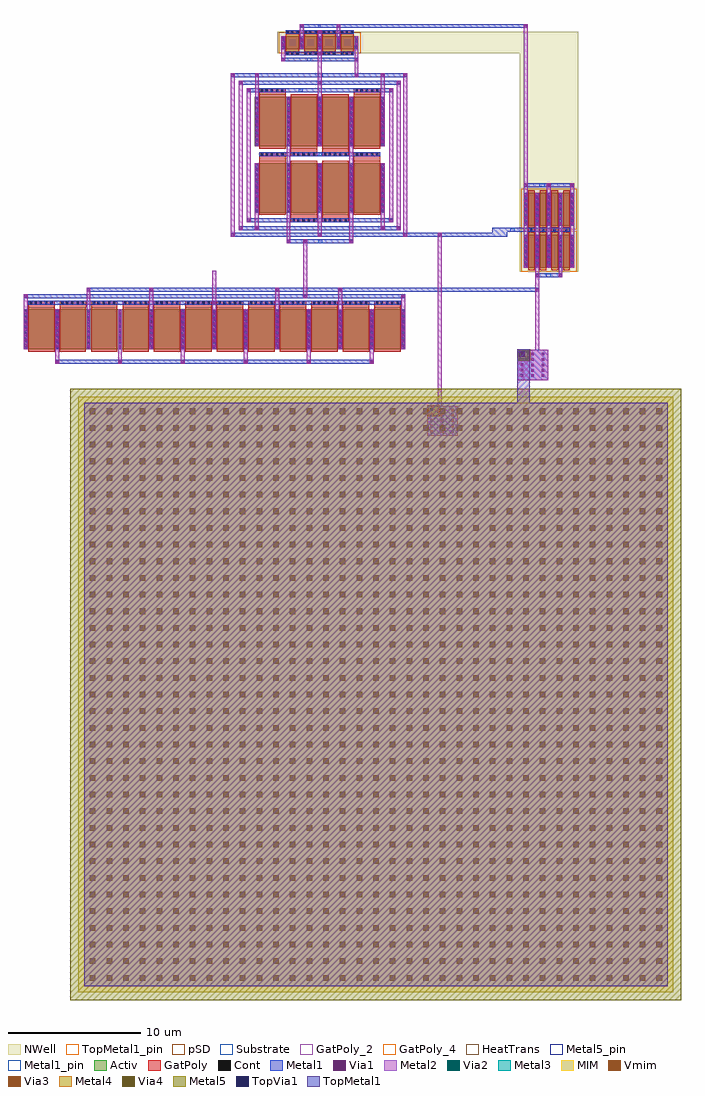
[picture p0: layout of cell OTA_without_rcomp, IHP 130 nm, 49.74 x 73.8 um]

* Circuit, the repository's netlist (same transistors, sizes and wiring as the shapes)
* Extracted by KLayout with SG13G2 LVS runset on : 30/04/2024 10:34

* cell OTA_without_rcomp
* pin VOUT
* pin VMID2
* pin VSS
* pin VS
* pin IREF
* pin VDD
* pin VMID1
* pin VIN_P
* pin VIN_N
* pin sub!
.SUBCKT OTA_without_rcomp VOUT VMID2 VSS VS IREF VDD VMID1 VIN_P VIN_N sub!
* device instance $1 r0 *1 -28.27,-7.193 sg13_lv_nmos
M$1 VS IREF VSS sub! sg13_lv_nmos W=6.0 L=2.0
* device instance $2 r0 *1 -25.89,-7.193 sg13_lv_nmos
M$2 VSS IREF VOUT sub! sg13_lv_nmos W=24.0 L=2.0
* device instance $6 r0 *1 -16.37,-7.193 sg13_lv_nmos
M$6 VSS IREF IREF sub! sg13_lv_nmos W=6.0 L=2.0
* device instance $13 r0 *1 -10.772,3.507 sg13_lv_nmos
M$13 VMID1 VIN_N VS sub! sg13_lv_nmos W=15.0 L=2.0
* device instance $14 r0 *1 -8.392,3.507 sg13_lv_nmos
M$14 VS VIN_P VMID2 sub! sg13_lv_nmos W=15.0 L=2.0
* device instance $21 r0 *1 8.788,-1.299 sg13_lv_pmos
M$21 VDD VMID2 VOUT \$19 sg13_lv_pmos W=20.0 L=0.5
* device instance $29 r0 *1 -9.278,14.481 sg13_lv_pmos
M$29 VMID2 VMID1 VDD \$19 sg13_lv_pmos W=2.0 L=1.0
* device instance $30 r0 *1 -7.898,14.481 sg13_lv_pmos
M$30 VDD VMID1 VMID1 \$19 sg13_lv_pmos W=2.0 L=1.0
* device instance $33 r0 *1 -26.07,-57.903 cap_cmim
C$33 VOUT VMID2 cap_cmim w=45 l=45 m=1
.ENDS OTA_without_rcomp

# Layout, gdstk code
from math import pi, radians
import gdstk
lib = gdstk.Library(unit=1e-6, precision=1e-09)
def R(c, l, rs):  # rectangles x0, y0, x1, y1
    for r in rs: c.add(gdstk.rectangle(r[:2], r[2:], *l))
def A(c, l, x, y, w, h, nx, ny, dx, dy):  # array of equal rectangles
    R(c, l, [(x+i*dx, y+j*dy, x+i*dx+w, y+j*dy+h) for i in range(nx) for j in range(ny)])
Activ = (1, 0)
GatPoly = (5, 0)
GatPoly_2 = (5, 2)
GatPoly_4 = (5, 4)
Cont = (6, 0)
Metal1 = (8, 0)
Metal1_pin = (8, 2)
Metal2 = (10, 0)
pSD = (14, 0)
Via1 = (19, 0)
Via2 = (29, 0)
Metal3 = (30, 0)
NWell = (31, 0)
MIM = (36, 0)
Substrate = (40, 0)
Via3 = (49, 0)
Metal4 = (50, 0)
HeatTrans = (51, 0)
Via4 = (66, 0)
Metal5 = (67, 0)
Metal5_pin = (67, 2)
TopVia1 = (125, 0)
TopMetal1 = (126, 0)
TopMetal1_pin = (126, 2)
Vmim = (129, 0)

ccomp = lib.new_cell('ccomp')

cmim_1 = lib.new_cell('cmim$1')
R(cmim_1, MIM, [(0,0,45,45)])
R(cmim_1, Metal5, [(-0.6,-0.6,45.6,45.6)])
R(cmim_1, Metal5_pin, [(-0.6,-0.6,45.6,45.6)])
R(cmim_1, TopMetal1, [(0.445,0.445,44.545,44.545)])
R(cmim_1, TopMetal1_pin, [(0.445,0.445,44.545,44.545)])
A(cmim_1, Vmim, 0.865, 0.865, 0.42, 0.42, 35, 35, 1.26, 1.26)

ccomp_1 = lib.new_cell('ccomp$1')
R(ccomp_1, Metal1, [(-17.84,40.607,-15.524,42.91), (-11.026,44.826,-8.71,47.129)])
R(ccomp_1, Metal2, [(-17.84,40.607,-15.524,42.91), (-11.026,44.826,-8.71,47.129)])
A(ccomp_1, Via1, -16.812, 40.849, 0.19, 0.19, 1, 5, 0, 0.41)
A(ccomp_1, Via1, -16.02, 40.852, 0.19, 0.19, 1, 5, 0, 0.41)
A(ccomp_1, Via1, -17.607, 40.86, 0.19, 0.19, 1, 5, 0, 0.41)
A(ccomp_1, Via1, -9.998, 45.068, 0.19, 0.19, 1, 5, 0, 0.41)
A(ccomp_1, Via1, -9.206, 45.071, 0.19, 0.19, 1, 5, 0, 0.41)
A(ccomp_1, Via1, -10.793, 45.079, 0.19, 0.19, 1, 5, 0, 0.41)
R(ccomp_1, Via2, [(-17.607,42.499,-17.417,42.689), (-10.793,46.718,-10.603,46.908)])
R(ccomp_1, Metal3, [(-17.839,42.182,-17.005,42.909), (-11.025,46.401,-10.191,47.128)])
R(ccomp_1, Via3, [(-17.607,42.499,-17.417,42.689), (-10.793,46.718,-10.603,46.908)])
R(ccomp_1, Metal4, [(-17.852,42.084,-16.907,42.947), (-11.038,46.303,-10.093,47.166)])
R(ccomp_1, Via4, [(-17.607,42.5,-17.417,42.69), (-10.793,46.719,-10.603,46.909)])
R(ccomp_1, Metal5, [(-11.043,46.279,-10.071,47.166)])
R(ccomp_1, Metal5_pin, [(-10.793,46.719,-10.603,46.909)])
R(ccomp_1, TopVia1, [(-10.908,46.604,-10.488,47.024)])
R(ccomp_1, TopMetal1, [(-11.05,45.363,-10.106,47.175)])
ccomp_1.add(gdstk.Reference(cmim_1, (0.773,-1.439), rotation=pi/2))
ccomp_1.add(gdstk.Label('VOUT', (-47.812,6.918), layer=8, texttype=1))
ccomp_1.add(gdstk.Label('VC', (-43.16,0.155), layer=8, texttype=1))

nmos_1 = lib.new_cell('nmos$1')
A(nmos_1, Activ, 0, 0, 0.3, 0.3, 13, 1, 2.38, 0)
R(nmos_1, Activ, [(0,0,28.86,3)])
A(nmos_1, GatPoly, 0.34, -0.18, 2, 3.36, 12, 1, 2.38, 0)
R(nmos_1, GatPoly_4, [(0.34,-0.18,2.34,3.18), (0.34,-0.18,2.34,3.18)])
A(nmos_1, Cont, 0.07, 0.07, 0.16, 0.16, 13, 7, 2.38, 0.385)
A(nmos_1, Cont, 0.07, 2.77, 0.16, 0.16, 13, 1, 2.38, 0)
A(nmos_1, Metal1, 0.07, 0, 0.16, 3, 13, 1, 2.38, 0)
R(nmos_1, Metal1_pin, [(0.07,0,0.23,3), (0.07,0,0.23,3), (2.45,0,2.61,3), (2.45,0,2.61,3)])
A(nmos_1, HeatTrans, 0.34, -0.18, 2, 3.36, 12, 1, 2.38, 0)
nmos_1.add(gdstk.Label('nmos', (1.34,1.5), layer=51, texttype=0))
nmos_1.add(gdstk.Label('nmos', (3.72,1.5), layer=51, texttype=0))
nmos_1.add(gdstk.Label('nmos', (6.1,1.5), layer=51, texttype=0))
nmos_1.add(gdstk.Label('nmos', (8.48,1.5), layer=51, texttype=0))
nmos_1.add(gdstk.Label('nmos', (10.86,1.5), layer=51, texttype=0))
nmos_1.add(gdstk.Label('nmos', (13.24,1.5), layer=51, texttype=0))
nmos_1.add(gdstk.Label('nmos', (15.62,1.5), layer=51, texttype=0))
nmos_1.add(gdstk.Label('nmos', (18,1.5), layer=51, texttype=0))
nmos_1.add(gdstk.Label('nmos', (20.38,1.5), layer=51, texttype=0))
nmos_1.add(gdstk.Label('nmos', (22.76,1.5), layer=51, texttype=0))
nmos_1.add(gdstk.Label('nmos', (25.14,1.5), layer=51, texttype=0))
nmos_1.add(gdstk.Label('nmos', (27.52,1.5), layer=51, texttype=0))

nmos_current_mirror = lib.new_cell('nmos_current_mirror')
A(nmos_current_mirror, GatPoly, -0.264, 2.782, 2.001, 0.48, 12, 1, 2.38, 0)
A(nmos_current_mirror, Cont, 2.258, 3.028, 0.16, 0.16, 6, 1, 4.76, 0)
A(nmos_current_mirror, Cont, -0.12, 3.036, 0.16, 0.16, 6, 1, 4.76, 0)
R(nmos_current_mirror, Cont, [(2.602,3.03,2.762,3.19), (3.003,3.03,3.163,3.19), (3.403,3.03,3.563,3.19), (3.804,3.03,3.964,3.19), (7.362,3.03,7.522,3.19), (7.763,3.03,7.923,3.19), (8.163,3.03,8.323,3.19), (8.564,3.03,8.724,3.19), (12.122,3.03,12.282,3.19), (12.523,3.03,12.683,3.19), (12.923,3.03,13.083,3.19), (13.324,3.03,13.484,3.19), (16.882,3.03,17.042,3.19), (17.283,3.03,17.443,3.19), (17.683,3.03,17.843,3.19), (18.084,3.03,18.244,3.19), (21.642,3.03,21.802,3.19), (22.043,3.03,22.203,3.19), (22.443,3.03,22.603,3.19), (22.844,3.03,23.004,3.19), (26.402,3.03,26.562,3.19), (26.803,3.03,26.963,3.19), (27.203,3.03,27.363,3.19), (27.604,3.03,27.764,3.19), (0.224,3.038,0.384,3.198), (0.625,3.038,0.785,3.198), (1.025,3.038,1.185,3.198), (1.426,3.038,1.586,3.198), (4.984,3.038,5.144,3.198), (5.385,3.038,5.545,3.198), (5.785,3.038,5.945,3.198), (6.186,3.038,6.346,3.198), (9.744,3.038,9.904,3.198), (10.145,3.038,10.305,3.198), (10.545,3.038,10.705,3.198), (10.946,3.038,11.106,3.198), (14.504,3.038,14.664,3.198), (14.905,3.038,15.065,3.198), (15.305,3.038,15.465,3.198), (15.706,3.038,15.866,3.198), (19.264,3.038,19.424,3.198), (19.665,3.038,19.825,3.198), (20.065,3.038,20.225,3.198), (20.466,3.038,20.626,3.198), (24.024,3.038,24.184,3.198), (24.425,3.038,24.585,3.198), (24.825,3.038,24.985,3.198), (25.226,3.038,25.386,3.198)])
R(nmos_current_mirror, Metal1, [(1.776,-1.512,25.876,-1.212), (-0.264,2.962,27.918,3.262), (-0.604,3.446,28.256,3.746), (4.156,3.931,23.496,4.231)])
R(nmos_current_mirror, Metal2, [(11.296,-1.514,11.596,2.6), (25.576,-1.513,25.876,2.601), (1.776,-1.512,2.076,2.602), (6.536,-1.512,6.836,2.602), (16.056,-1.511,16.356,2.603), (20.816,-1.511,21.116,2.603), (-0.604,-0.398,-0.304,3.746), (4.156,-0.398,4.456,4.231), (8.916,-0.398,9.216,4.231), (13.676,-0.398,13.976,5.548), (18.436,-0.398,18.736,4.231), (23.196,-0.398,23.496,4.231), (27.956,-0.398,28.256,3.716)])
A(nmos_current_mirror, Via1, 8.97, -0.261, 0.19, 0.19, 1, 7, 0, 0.41)
A(nmos_current_mirror, Via1, 1.834, -0.258, 0.19, 0.19, 1, 7, 0, 0.41)
A(nmos_current_mirror, Via1, 6.589, -0.257, 0.19, 0.19, 1, 7, 0, 0.41)
A(nmos_current_mirror, Via1, 4.209, -0.255, 0.19, 0.19, 1, 7, 0, 0.41)
A(nmos_current_mirror, Via1, 11.348, -0.254, 0.19, 0.19, 1, 7, 0, 0.41)
A(nmos_current_mirror, Via1, 28.012, -0.253, 0.19, 0.19, 1, 7, 0, 0.41)
A(nmos_current_mirror, Via1, 25.627, -0.252, 0.19, 0.19, 1, 7, 0, 0.41)
A(nmos_current_mirror, Via1, 13.73, -0.249, 0.19, 0.19, 1, 7, 0, 0.41)
A(nmos_current_mirror, Via1, 18.491, -0.249, 0.19, 0.19, 1, 7, 0, 0.41)
A(nmos_current_mirror, Via1, 16.11, -0.247, 0.19, 0.19, 1, 7, 0, 0.41)
A(nmos_current_mirror, Via1, 23.25, -0.245, 0.19, 0.19, 1, 7, 0, 0.41)
A(nmos_current_mirror, Via1, 20.87, -0.236, 0.19, 0.19, 1, 7, 0, 0.41)
A(nmos_current_mirror, Via1, -0.542, -0.214, 0.19, 0.19, 1, 7, 0, 0.41)
R(nmos_current_mirror, Via1, [(11.353,-1.46,11.543,-1.27), (1.826,-1.458,2.016,-1.268), (25.63,-1.458,25.82,-1.268), (20.868,-1.457,21.058,-1.267), (6.584,-1.456,6.774,-1.266), (16.109,-1.454,16.299,-1.264), (13.728,3.031,13.918,3.221), (28.014,3.505,28.204,3.695), (-0.555,3.508,-0.365,3.698), (4.215,3.987,4.405,4.177), (18.498,3.988,18.688,4.178), (23.244,3.994,23.434,4.184), (8.969,3.995,9.159,4.185)])
nmos_current_mirror.add(gdstk.Reference(nmos_1, (-0.604,-0.398)))
nmos_current_mirror.add(gdstk.Label('VSS', (13.697,-1.404), layer=8, texttype=1))
nmos_current_mirror.add(gdstk.Label('VOUT', (19.446,4.022), layer=8, texttype=1))
nmos_current_mirror.add(gdstk.Label('VS', (17.185,3.523), layer=8, texttype=1))
nmos_current_mirror.add(gdstk.Label('IREF', (13.805,2.45), layer=8, texttype=1))

nmos_2 = lib.new_cell('nmos$2')
A(nmos_2, Activ, 0, 0, 0.3, 0.3, 5, 1, 2.38, 0)
R(nmos_2, Activ, [(0,0,9.82,3.75)])
A(nmos_2, GatPoly, 0.34, -0.18, 2, 4.11, 4, 1, 2.38, 0)
R(nmos_2, GatPoly_2, [(0.34,-0.18,2.34,3.93), (0.34,-0.18,2.34,3.93)])
A(nmos_2, Cont, 0.07, 0.07, 0.16, 0.16, 5, 11, 2.38, 0.345)
A(nmos_2, Metal1, 0.07, 0, 0.16, 3.75, 5, 1, 2.38, 0)
R(nmos_2, Metal1_pin, [(0.07,0,0.23,3.75), (0.07,0,0.23,3.75), (2.45,0,2.61,3.75), (2.45,0,2.61,3.75)])
A(nmos_2, HeatTrans, 0.34, -0.18, 2, 4.11, 4, 1, 2.38, 0)
nmos_2.add(gdstk.Label('nmos', (1.34,1.875), layer=51, texttype=0))
nmos_2.add(gdstk.Label('nmos', (3.72,1.875), layer=51, texttype=0))
nmos_2.add(gdstk.Label('nmos', (6.1,1.875), layer=51, texttype=0))
nmos_2.add(gdstk.Label('nmos', (8.48,1.875), layer=51, texttype=0))

nmos_diffpar = lib.new_cell('nmos_diffpar')
R(nmos_diffpar, GatPoly, [(2.245,-5.787,4.245,-5.235), (4.625,-5.787,6.625,-5.235), (-0.135,-1.125,1.865,-0.488), (7.005,-1.125,9.005,-0.488), (2.245,-0.787,4.245,-0.235), (4.625,-0.787,6.625,-0.235), (-0.135,3.875,1.866,4.355), (7.005,3.875,9.006,4.355)])
R(nmos_diffpar, Cont, [(2.367,-5.714,2.527,-5.554), (4.747,-5.714,4.907,-5.554), (2.711,-5.712,2.871,-5.552), (3.112,-5.712,3.272,-5.552), (3.512,-5.712,3.672,-5.552), (3.913,-5.712,4.073,-5.552), (5.091,-5.712,5.251,-5.552), (5.492,-5.712,5.652,-5.552), (5.892,-5.712,6.052,-5.552), (6.293,-5.712,6.453,-5.552), (7.153,-0.717,7.313,-0.557), (7.497,-0.715,7.657,-0.555), (7.898,-0.715,8.058,-0.555), (8.298,-0.715,8.458,-0.555), (8.699,-0.715,8.859,-0.555), (2.367,-0.714,2.527,-0.554), (4.747,-0.714,4.907,-0.554), (2.711,-0.712,2.871,-0.552), (3.112,-0.712,3.272,-0.552), (3.512,-0.712,3.672,-0.552), (3.913,-0.712,4.073,-0.552), (5.091,-0.712,5.251,-0.552), (5.492,-0.712,5.652,-0.552), (5.892,-0.712,6.052,-0.552), (6.293,-0.712,6.453,-0.552), (-0.022,-0.703,0.138,-0.543), (0.322,-0.701,0.482,-0.541), (0.723,-0.701,0.883,-0.541), (1.123,-0.701,1.283,-0.541), (1.524,-0.701,1.684,-0.541), (-0.027,4.116,0.133,4.276), (0.317,4.118,0.477,4.278), (0.718,4.118,0.878,4.278), (1.118,4.118,1.278,4.278), (1.519,4.118,1.679,4.278), (7.152,4.124,7.312,4.284), (7.496,4.126,7.656,4.286), (7.897,4.126,8.057,4.286), (8.297,4.126,8.457,4.286), (8.698,4.126,8.858,4.286)])
R(nmos_diffpar, Metal1, [(1.908,-7.38,6.966,-7.08), (-2.306,-6.892,18.583,-6.592), (-1.704,-6.381,10.543,-6.081), (-1.103,-5.787,9.972,-5.488), (-0.135,-0.787,9.005,-0.488), (-1.103,4.055,9.972,4.355), (-1.704,4.626,10.543,4.926), (-2.306,5.168,11.052,5.468)])
R(nmos_diffpar, Metal1_pin, [(4.3,-7.366,4.628,-7.097), (4.343,-0.749,4.562,-0.52), (2.851,4.086,3.144,4.319), (4.316,4.649,4.579,4.905), (4.313,5.185,4.646,5.458)])
R(nmos_diffpar, Metal2, [(1.908,-7.38,2.208,3.695), (6.666,-7.38,6.966,3.695), (-2.306,-6.892,-2.006,5.468), (4.286,-6.892,4.586,-1.305), (10.753,-6.892,11.053,5.468), (-0.475,-6.381,-0.175,-1.305), (9.045,-6.381,9.345,-1.305), (-1.704,-6.38,-1.404,4.926), (10.243,-6.38,10.543,4.926), (-1.103,-5.787,-0.803,4.355), (-1.103,-5.787,-0.803,4.355), (9.672,-5.787,9.972,4.355), (-0.474,-0.055,-0.174,5.468), (4.286,-0.055,4.586,4.926), (9.046,-0.055,9.345,5.468)])
A(nmos_diffpar, Via1, 9.096, -4.72, 0.19, 0.19, 1, 8, 0, 0.41)
A(nmos_diffpar, Via1, -0.417, -4.712, 0.19, 0.19, 1, 8, 0, 0.41)
A(nmos_diffpar, Via1, 1.959, -4.687, 0.19, 0.19, 1, 8, 0, 0.41)
A(nmos_diffpar, Via1, 6.722, -4.676, 0.19, 0.19, 1, 8, 0, 0.41)
A(nmos_diffpar, Via1, 4.339, -4.651, 0.19, 0.19, 1, 8, 0, 0.41)
A(nmos_diffpar, Via1, 6.721, 0.213, 0.19, 0.19, 1, 8, 0, 0.41)
A(nmos_diffpar, Via1, 9.106, 0.224, 0.19, 0.19, 1, 8, 0, 0.41)
A(nmos_diffpar, Via1, 4.34, 0.278, 0.19, 0.19, 1, 8, 0, 0.41)
A(nmos_diffpar, Via1, 1.962, 0.279, 0.19, 0.19, 1, 8, 0, 0.41)
A(nmos_diffpar, Via1, -0.42, 0.281, 0.19, 0.19, 1, 8, 0, 0.41)
R(nmos_diffpar, Via1, [(1.961,-7.331,2.151,-7.141), (6.733,-7.322,6.923,-7.132), (4.337,-6.849,4.527,-6.659), (10.812,-6.846,11.002,-6.656), (-2.254,-6.843,-2.064,-6.653), (-0.418,-6.332,-0.228,-6.142), (-1.648,-6.331,-1.458,-6.141), (9.091,-6.331,9.281,-6.141), (10.303,-6.326,10.493,-6.136), (9.72,-5.743,9.91,-5.553), (-1.05,-5.726,-0.86,-5.536), (9.731,4.105,9.921,4.295), (-1.049,4.116,-0.859,4.306), (4.343,4.674,4.533,4.864), (-1.648,4.676,-1.458,4.866), (10.305,4.685,10.495,4.875), (10.815,5.218,11.005,5.408), (9.102,5.225,9.292,5.415), (-2.257,5.226,-2.067,5.416), (-0.417,5.23,-0.227,5.42)])
r = gdstk.Reference(nmos_2, (-0.475,-5.055)); r.repetition = gdstk.Repetition(1, 2, v1=(0,0), v2=(0,5)); nmos_diffpar.add(r)
nmos_diffpar.add(gdstk.Label('VMID1', (4.441,4.752), layer=8, texttype=1))
nmos_diffpar.add(gdstk.Label('VMID2', (4.445,5.336), layer=8, texttype=1))
nmos_diffpar.add(gdstk.Label('VS', (4.447,-7.233), layer=8, texttype=1))
nmos_diffpar.add(gdstk.Label('VIN_N', (4.416,-0.662), layer=8, texttype=1))
nmos_diffpar.add(gdstk.Label('VIN_P', (2.921,4.211), layer=8, texttype=1))

pmos_1 = lib.new_cell('pmos$1')
A(pmos_1, Activ, 0, 0, 0.3, 0.3, 5, 1, 1.38, 0)
R(pmos_1, Activ, [(0,0,5.82,1)])
A(pmos_1, GatPoly, 0.34, -0.18, 1, 1.36, 4, 1, 1.38, 0)
R(pmos_1, GatPoly, [(0.34,-0.18,1.34,1.18), (0.34,-0.18,1.34,1.18)])
A(pmos_1, Cont, 0.07, 0.07, 0.16, 0.16, 5, 3, 1.38, 0.35)
A(pmos_1, Metal1, 1.45, 0, 0.16, 1, 4, 1, 1.38, 0)
R(pmos_1, Metal1, [(0.07,0,0.23,1), (0.07,0,0.23,1), (0.07,0,0.23,1), (1.45,0,1.61,1), (1.45,0,1.61,1)])
R(pmos_1, pSD, [(-0.18,-0.3,6,1.3)])
R(pmos_1, NWell, [(-0.31,-0.31,22.446,1.31)])
R(pmos_1, Substrate, [(5.52,0,5.82,0.3), (5.52,0,5.82,0.3)])
A(pmos_1, HeatTrans, 0.34, -0.18, 1, 1.36, 4, 1, 1.38, 0)
pmos_1.add(gdstk.Label('pmos', (0.84,0.5), layer=51, texttype=0))
pmos_1.add(gdstk.Label('pmos', (2.22,0.5), layer=51, texttype=0))
pmos_1.add(gdstk.Label('pmos', (3.6,0.5), layer=51, texttype=0))
pmos_1.add(gdstk.Label('pmos', (4.98,0.5), layer=51, texttype=0))
pmos_1.add(gdstk.Label('pmos', (0.84,0.5), layer=63, texttype=0))

pmos_current_mirror = lib.new_cell('pmos_current_mirror')
A(pmos_current_mirror, GatPoly, 0.797, 9.094, 1, 0.267, 4, 2, 1.38, 1.627)
A(pmos_current_mirror, Cont, 0.848, 10.777, 0.16, 0.16, 3, 1, 1.38, 0)
R(pmos_current_mirror, Cont, [(3.607,9.133,3.767,9.293), (3.951,9.135,4.111,9.295), (4.352,9.135,4.512,9.295), (2.225,9.142,2.385,9.302), (2.569,9.144,2.729,9.304), (2.97,9.144,3.13,9.304), (0.848,9.15,1.008,9.31), (4.988,9.15,5.148,9.31), (1.192,9.152,1.352,9.312), (1.593,9.152,1.753,9.312), (5.332,9.152,5.492,9.312), (5.733,9.152,5.893,9.312), (1.192,10.779,1.352,10.939), (1.593,10.779,1.753,10.939), (2.572,10.779,2.732,10.939), (2.973,10.779,3.133,10.939), (3.952,10.779,4.112,10.939), (4.353,10.779,4.513,10.939), (4.987,10.781,5.147,10.941), (4.987,10.781,5.147,10.941), (5.331,10.783,5.491,10.943), (5.331,10.783,5.491,10.943), (5.732,10.783,5.892,10.943), (5.732,10.783,5.892,10.943)])
R(pmos_current_mirror, Metal1, [(0.457,8.631,6.277,8.897), (0.797,9.095,5.937,9.361), (0.797,10.722,5.937,10.988), (1.85,11.186,19.073,11.452)])
R(pmos_current_mirror, Metal1_pin, [(2.431,8.645,2.697,8.892), (3.252,9.11,3.503,9.349), (3.24,11.186,3.415,11.452)])
R(pmos_current_mirror, Metal2, [(5.997,7.415,6.277,10.541), (3.224,7.974,3.524,10.988), (0.457,8.631,0.737,10.541), (4.628,9.541,4.908,11.452), (1.851,9.542,2.131,11.452)])
R(pmos_current_mirror, Via1, [(0.501,8.667,0.691,8.857), (6.05,8.672,6.24,8.862), (3.279,9.132,3.469,9.322), (1.896,9.747,2.086,9.937), (3.275,9.765,3.465,9.955), (0.51,9.772,0.7,9.962), (6.034,9.796,6.224,9.986), (4.675,9.826,4.865,10.016), (1.896,10.157,2.086,10.347), (3.275,10.175,3.465,10.365), (0.51,10.182,0.7,10.372), (6.034,10.206,6.224,10.396), (4.675,10.236,4.865,10.426), (3.279,10.766,3.469,10.956), (1.896,11.228,2.086,11.418), (4.677,11.235,4.867,11.425)])
pmos_current_mirror.add(gdstk.Reference(pmos_1, (0.457,9.541)))
pmos_current_mirror.add(gdstk.Label('VMID1', (3.385,9.192), layer=8, texttype=1))
pmos_current_mirror.add(gdstk.Label('VMID2', (2.524,8.786), layer=8, texttype=1))
pmos_current_mirror.add(gdstk.Label('VDD', (3.334,11.359), layer=8, texttype=1))

pmos_1_1 = lib.new_cell('pmos$1$1')
A(pmos_1_1, Activ, 0, 0, 0.3, 0.3, 5, 1, 0.88, 0)
R(pmos_1_1, Activ, [(0,0,3.82,2.5)])
A(pmos_1_1, GatPoly, 0.34, -0.18, 0.5, 2.86, 4, 1, 0.88, 0)
R(pmos_1_1, GatPoly, [(0.34,-0.18,0.84,2.68), (0.34,-0.18,0.84,2.68)])
A(pmos_1_1, Cont, 0.07, 0.07, 0.16, 0.16, 5, 3, 0.88, 0.365)
A(pmos_1_1, Cont, 0.07, 1.17, 0.16, 0.16, 5, 3, 0.88, 0.365)
A(pmos_1_1, Cont, 0.07, 2.27, 0.16, 0.16, 5, 1, 0.88, 0)
A(pmos_1_1, Metal1, 0.95, 0, 0.16, 2.5, 4, 1, 0.88, 0)
R(pmos_1_1, Metal1, [(0.07,0,0.23,2.5), (0.07,0,0.23,2.5), (0.07,0,0.23,2.5), (0.95,0,1.11,2.5), (0.95,0,1.11,2.5)])
R(pmos_1_1, pSD, [(-0.18,-0.3,4,2.8)])
R(pmos_1_1, NWell, [(-0.31,-10.52,4.13,2.81)])
R(pmos_1_1, Substrate, [(3.52,0,3.82,0.3), (3.52,0,3.82,0.3)])
A(pmos_1_1, HeatTrans, 0.34, -0.18, 0.5, 2.86, 4, 1, 0.88, 0)
pmos_1_1.add(gdstk.Label('pmos', (0.59,1.25), layer=51, texttype=0))
pmos_1_1.add(gdstk.Label('pmos', (1.47,1.25), layer=51, texttype=0))
pmos_1_1.add(gdstk.Label('pmos', (2.35,1.25), layer=51, texttype=0))
pmos_1_1.add(gdstk.Label('pmos', (3.23,1.25), layer=51, texttype=0))
pmos_1_1.add(gdstk.Label('pmos', (0.59,1.25), layer=63, texttype=0))

pmos_ss = lib.new_cell('pmos_ss')
A(pmos_ss, GatPoly, -4.984, 6.819, 0.5, 0.34, 4, 1, 0.88, 0)
R(pmos_ss, Cont, [(-2.186,6.914,-2.026,7.074), (-3.067,6.915,-2.907,7.075), (-3.926,6.918,-3.766,7.078), (-4.83,6.922,-4.67,7.082)])
R(pmos_ss, Metal1, [(-4.444,3.434,-2.384,3.734), (-7.677,6.857,-1.844,7.157), (-5.324,10.244,-1.504,10.544)])
R(pmos_ss, Metal1_pin, [(-3.627,3.45,-3.263,3.704), (-6.327,6.887,-5.984,7.134), (-4.146,10.267,-3.711,10.514)])
R(pmos_ss, Metal2, [(-4.444,-4.35,-4.144,9.839), (-2.684,3.434,-2.384,9.839), (-5.324,4.139,-5.024,22.58), (-3.565,4.139,-3.265,10.544), (-1.804,4.139,-1.504,10.544)])
A(pmos_ss, Via1, -5.265, 4.291, 0.19, 0.19, 1, 6, 0, 0.41)
A(pmos_ss, Via1, -5.267, 7.45, 0.19, 0.19, 1, 6, 0, 0.41)
R(pmos_ss, Via1, [(-4.392,3.484,-4.202,3.674), (-2.625,3.493,-2.435,3.683), (-4.385,4.243,-4.195,4.433), (-4.385,4.243,-4.195,4.433), (-3.508,4.252,-3.318,4.442), (-3.508,4.252,-3.318,4.442), (-2.625,4.254,-2.435,4.444), (-2.625,4.254,-2.435,4.444), (-1.751,4.266,-1.561,4.456), (-1.751,4.266,-1.561,4.456), (-4.385,4.653,-4.195,4.843), (-4.385,4.653,-4.195,4.843), (-3.508,4.662,-3.318,4.852), (-3.508,4.662,-3.318,4.852), (-2.625,4.664,-2.435,4.854), (-2.625,4.664,-2.435,4.854), (-1.751,4.676,-1.561,4.866), (-1.751,4.676,-1.561,4.866), (-4.385,5.063,-4.195,5.253), (-4.385,5.063,-4.195,5.253), (-3.508,5.072,-3.318,5.262), (-3.508,5.072,-3.318,5.262), (-2.625,5.074,-2.435,5.264), (-2.625,5.074,-2.435,5.264), (-1.751,5.086,-1.561,5.276), (-1.751,5.086,-1.561,5.276), (-4.385,5.473,-4.195,5.663), (-4.385,5.473,-4.195,5.663), (-3.508,5.482,-3.318,5.672), (-3.508,5.482,-3.318,5.672), (-2.625,5.484,-2.435,5.674), (-2.625,5.484,-2.435,5.674), (-1.751,5.496,-1.561,5.686), (-1.751,5.496,-1.561,5.686), (-4.385,5.883,-4.195,6.073), (-4.385,5.883,-4.195,6.073), (-3.508,5.892,-3.318,6.082), (-3.508,5.892,-3.318,6.082), (-2.625,5.894,-2.435,6.084), (-2.625,5.894,-2.435,6.084), (-1.751,5.906,-1.561,6.096), (-1.751,5.906,-1.561,6.096), (-4.385,6.293,-4.195,6.483), (-4.385,6.293,-4.195,6.483), (-3.508,6.302,-3.318,6.492), (-3.508,6.302,-3.318,6.492), (-2.625,6.304,-2.435,6.494), (-2.625,6.304,-2.435,6.494), (-1.751,6.316,-1.561,6.506), (-1.751,6.316,-1.561,6.506), (-4.387,7.402,-4.197,7.592), (-4.387,7.402,-4.197,7.592), (-3.51,7.411,-3.32,7.601), (-3.51,7.411,-3.32,7.601), (-2.627,7.413,-2.437,7.603), (-2.627,7.413,-2.437,7.603), (-1.753,7.425,-1.563,7.615), (-1.753,7.425,-1.563,7.615), (-4.387,7.812,-4.197,8.002), (-4.387,7.812,-4.197,8.002), (-3.51,7.821,-3.32,8.011), (-3.51,7.821,-3.32,8.011), (-2.627,7.823,-2.437,8.013), (-2.627,7.823,-2.437,8.013), (-1.753,7.835,-1.563,8.025), (-1.753,7.835,-1.563,8.025), (-4.387,8.222,-4.197,8.412), (-4.387,8.222,-4.197,8.412), (-3.51,8.231,-3.32,8.421), (-3.51,8.231,-3.32,8.421), (-2.627,8.233,-2.437,8.423), (-2.627,8.233,-2.437,8.423), (-1.753,8.245,-1.563,8.435), (-1.753,8.245,-1.563,8.435), (-4.387,8.632,-4.197,8.822), (-4.387,8.632,-4.197,8.822), (-3.51,8.641,-3.32,8.831), (-3.51,8.641,-3.32,8.831), (-2.627,8.643,-2.437,8.833), (-2.627,8.643,-2.437,8.833), (-1.753,8.655,-1.563,8.845), (-1.753,8.655,-1.563,8.845), (-4.387,9.042,-4.197,9.232), (-4.387,9.042,-4.197,9.232), (-3.51,9.051,-3.32,9.241), (-3.51,9.051,-3.32,9.241), (-2.627,9.053,-2.437,9.243), (-2.627,9.053,-2.437,9.243), (-1.753,9.065,-1.563,9.255), (-1.753,9.065,-1.563,9.255), (-4.387,9.452,-4.197,9.642), (-4.387,9.452,-4.197,9.642), (-3.51,9.461,-3.32,9.651), (-3.51,9.461,-3.32,9.651), (-2.627,9.463,-2.437,9.653), (-2.627,9.463,-2.437,9.653), (-1.753,9.475,-1.563,9.665), (-1.753,9.475,-1.563,9.665), (-3.504,10.297,-3.314,10.487), (-5.273,10.299,-5.083,10.489), (-1.749,10.305,-1.559,10.495)])
R(pmos_ss, NWell, [(-5.634,6.949,-1.194,7.029)])
r = gdstk.Reference(pmos_1_1, (-1.504,9.839), rotation=pi); r.repetition = gdstk.Repetition(1, 2, v1=(0,0), v2=(0,-3.2)); pmos_ss.add(r)
pmos_ss.add(gdstk.Label('VDD', (-3.971,10.341), layer=8, texttype=1))
pmos_ss.add(gdstk.Label('VOUT', (-3.471,3.551), layer=8, texttype=1))
pmos_ss.add(gdstk.Label('VMID2', (-6.174,6.942), layer=8, texttype=1))

ota_without_rcomp = lib.new_cell('OTA_without_rcomp')
R(ota_without_rcomp, Metal1, [(-5.51,-4.364,9.378,-4.064), (5.845,-0.205,6.946,0.469)])
R(ota_without_rcomp, Metal2, [(1.716,-13.565,2.016,0.095), (-8.452,-4.849,-8.152,-0.393), (-7.351,11.613,-7.051,12.414)])
R(ota_without_rcomp, Via1, [(-8.402,-4.808,-8.212,-4.618), (9.137,-4.316,9.327,-4.126), (-8.401,-0.633,-8.211,-0.443), (1.773,-0.143,1.963,0.047), (-4.534,11.915,-4.344,12.105), (8.256,15.662,8.446,15.852)])
R(ota_without_rcomp, TopMetal1, [(7.707,-12.758,8.651,-10.501)])
ota_without_rcomp.add(gdstk.Reference(ccomp, (-14.441,12.527)))
ota_without_rcomp.add(gdstk.Reference(ccomp_1, (18.757,-55.864)))
ota_without_rcomp.add(gdstk.Reference(nmos_current_mirror, (-29.006,-8.295)))
ota_without_rcomp.add(gdstk.Reference(nmos_diffpar, (-11.637,6.687)))
ota_without_rcomp.add(gdstk.Reference(pmos_current_mirror, (-10.575,4.44)))
ota_without_rcomp.add(gdstk.Reference(pmos_ss, (13.522,-6.688)))

lib.write_gds('OTA_without_rcomp.gds')
